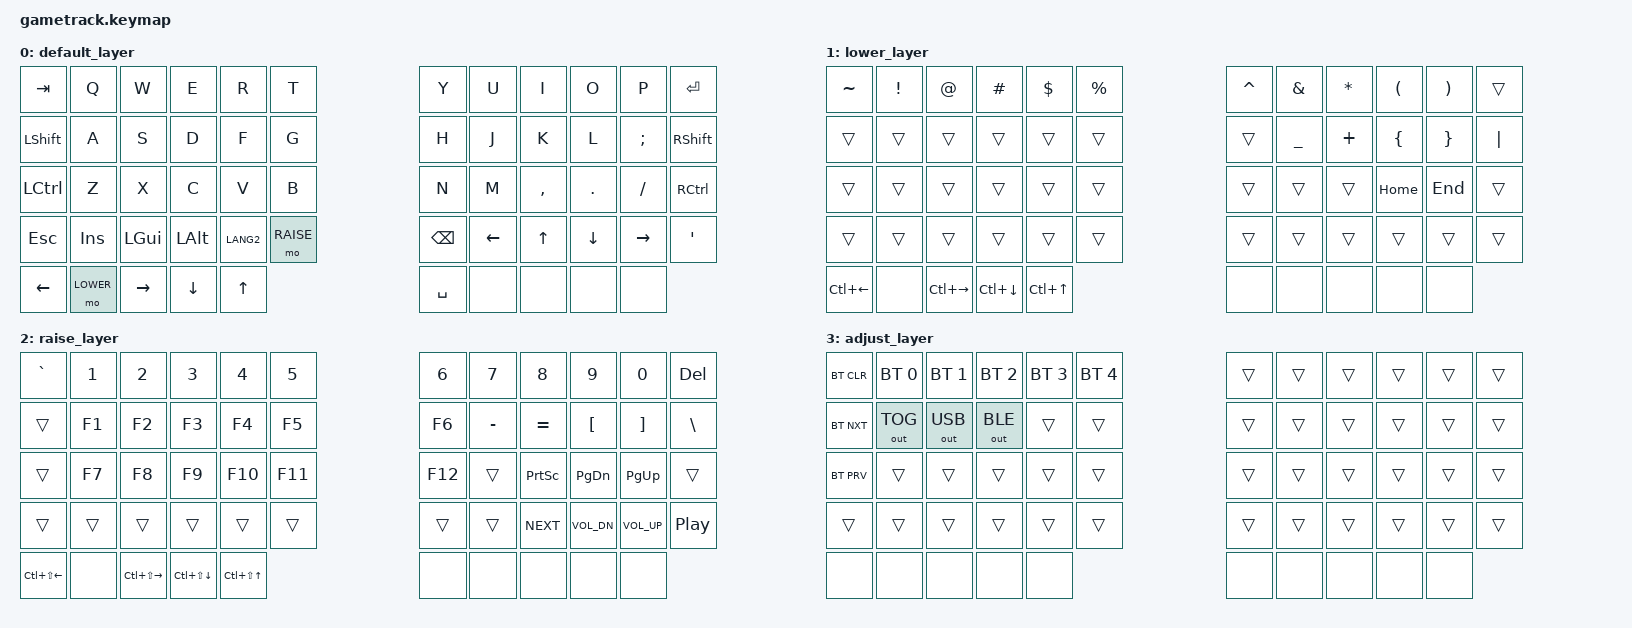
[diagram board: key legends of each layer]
 #include <behaviors.dtsi>
 #include <dt-bindings/zmk/keys.h>
 #include <dt-bindings/zmk/bt.h>
 #include <dt-bindings/zmk/ext_power.h>
 #include <dt-bindings/zmk/outputs.h>
 #include <dt-bindings/zmk/pointing.h>

 #define DEFAULT 0
 #define LOWER  1
 #define RAISE  2
 #define ADJUST 3

/ {
       combos {
        compatible = "zmk,combos";
        combo_leftclick {
            timeout-ms = <50>;
            key-positions = <18 19>;
            bindings = <&mkp LCLK>;
        };
        combo_rightclick {
            timeout-ms = <50>;
            key-positions = <30 31>;
            bindings = <&mkp RCLK>;
        };
        combo_middleclick {
            timeout-ms = <50>;
            key-positions = <6 7>;
            bindings = <&mkp MCLK>;
        };
     
        combo_capsword {
            timeout-ms = <50>;
            key-positions = <12 23>;
            bindings = <&caps_word>;
        };
    };
       keymap {
              compatible = "zmk,keymap";

              default_layer {
                     bindings = <
       &kp TAB   &kp Q     &kp W     &kp E     &kp R     &kp T                      &kp Y     &kp U     &kp I     &kp O      &kp P     &kp RET
       &kp LSHFT &kp A     &kp S     &kp D     &kp F     &kp G                      &kp H     &kp J     &kp K     &kp L      &kp SEMI  &kp RSHFT
       &kp LCTRL &kp Z     &kp X     &kp C     &kp V     &kp B                      &kp N     &kp M     &kp COMMA &kp PERIOD &kp SLASH &kp RCTRL
       &kp ESC   &kp INS   &kp LGUI  &kp LALT  &kp LANG2 &mo RAISE                  &kp BSPC  &kp LEFT  &kp UP    &kp DOWN   &kp RIGHT &kp SQT
       &kp LEFT  &mo LOWER &kp RIGHT &kp DOWN  &kp UP                               &kp SPACE &none     &none     &none      &none
                     >;
              };

              lower_layer {
                     bindings = <
       &kp TILDE        &kp EXCL  &kp AT            &kp HASH          &kp DLLR       &kp PRCNT      &kp CARET &kp AMPS  &kp ASTRK &kp LPAR   &kp RPAR  &trans
       &trans           &trans    &trans            &trans            &trans         &trans         &trans    &kp UNDER &kp PLUS  &kp LBRC   &kp RBRC  &kp PIPE
       &trans           &trans    &trans            &trans            &trans         &trans         &trans    &trans    &trans    &kp HOME   &kp END   &trans
       &trans           &trans    &trans            &trans            &trans         &trans         &trans    &trans    &trans    &trans     &trans    &trans
       &kp LC(LEFT)     &none     &kp LC(RIGHT)     &kp LC(DOWN)      &kp LC(UP)                    &none     &none     &none     &none      &none
                     >;
              };

              raise_layer {
                     bindings = <
       &kp GRAVE        &kp N1    &kp N2            &kp N3           &kp N4         &kp N5                  &kp N6    &kp N7    &kp N8    &kp N9     &kp N0    &kp DEL
       &trans           &kp F1    &kp F2            &kp F3           &kp F4         &kp F5                  &kp F6    &kp MINUS &kp EQUAL &kp LBKT   &kp RBKT  &kp BSLH
       &trans           &kp F7    &kp F8            &kp F9           &kp F10        &kp F11                 &kp F12   &trans    &kp PSCRN &kp PG_DN  &kp PG_UP &trans
       &trans           &trans    &trans            &trans           &trans         &trans                  &trans    &trans    &kp C_NEXT &kp C_VOL_DN &kp C_VOL_UP &kp C_PP
       &kp LC(LS(LEFT)) &none     &kp LC(LS(RIGHT)) &kp LC(LS(DOWN)) &kp LC(LS(UP))                         &none     &none     &none     &none      &none
                     >;
              };

              adjust_layer {        
                     bindings = <
       &bt BT_CLR &bt BT_SEL 0 &bt BT_SEL 1 &bt BT_SEL 2 &bt BT_SEL 3 &bt BT_SEL 4                          &trans          &trans          &trans          &trans          &trans          &trans
       &bt BT_NXT &out OUT_TOG &out OUT_USB &out OUT_BLE &trans       &trans                                &trans          &trans          &trans          &trans          &trans          &trans
       &bt BT_PRV &trans       &trans       &trans       &trans       &trans                                &trans          &trans          &trans          &trans          &trans          &trans
       &trans     &trans       &trans       &trans       &trans       &trans                                &trans          &trans          &trans          &trans          &trans          &trans
       &none      &none   &none    &none    &none                                                           &none           &none           &none           &none           &none
                     >;
              };
       };
};

